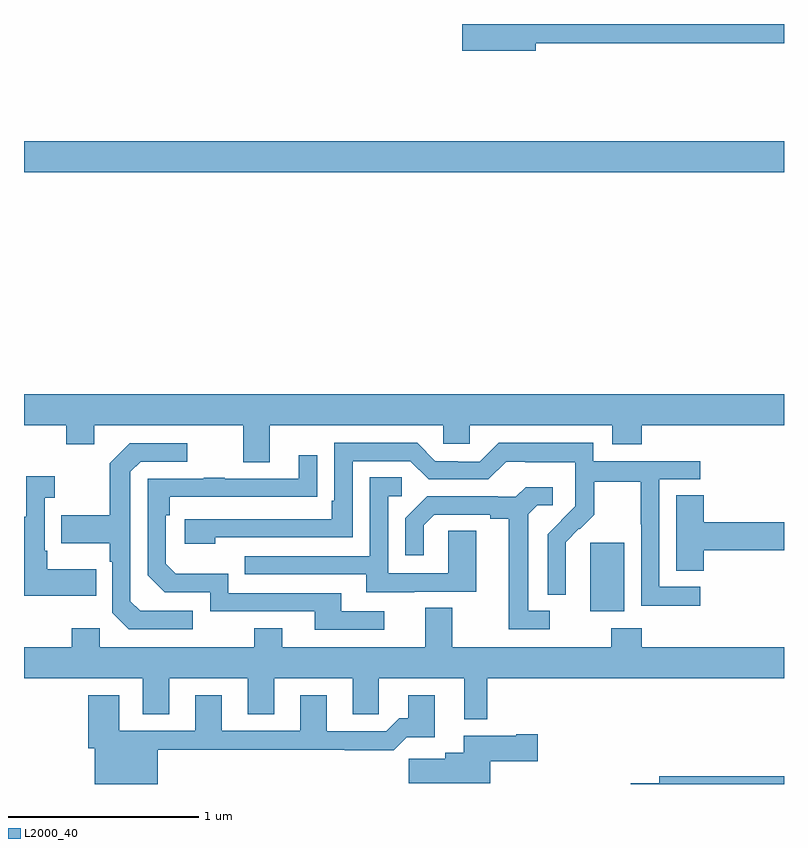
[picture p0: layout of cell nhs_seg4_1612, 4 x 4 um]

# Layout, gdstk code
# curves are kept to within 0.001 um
import gdstk
lib = gdstk.Library(unit=1e-6, precision=1e-09)
def R(c, l, rs):  # rectangles x0, y0, x1, y1
    for r in rs: c.add(gdstk.rectangle(r[:2], r[2:], *l))
def P(c, l, *ps):  # polygons
    for p in ps: c.add(gdstk.Polygon(p, *l))
L2000_40 = (2000, 40)

nhs_seg4_1612 = lib.new_cell('nhs_seg4_1612')
R(nhs_seg4_1612, L2000_40, [(195.98,827.81,196.159,828.171), (193,830.12,197,830.284)])
P(nhs_seg4_1612, L2000_40, [(195.694,830.8),(197,830.8),(197,830.9),(195.306,830.9),(195.306,830.758),(195.694,830.758)],
  [(194.293,828.788),(195.207,828.788),(195.207,828.69),(195.345,828.69),(195.345,828.788),(196.097,828.788),(196.097,828.689),(196.25,828.689),(196.25,828.788),(197,828.788),(197,828.952),(193,828.952),(193,828.788),(193.222,828.788),(193.222,828.689),(193.369,828.689),(193.369,828.788),(194.153,828.788),(194.153,828.594),(194.293,828.594)],
  [(196.558,827.937),(196.344,827.937),(196.344,828.504),(196.558,828.504),(196.558,828.6),(195.996,828.6),(195.996,828.697),(195.499,828.697),(195.399,828.597),(195.284,828.597),(195.284,828.6),(195.165,828.6),(195.069,828.696),(194.634,828.696),(194.634,828.391),(194.621,828.391),(194.621,828.294),(193.845,828.294),(193.845,828.164),(194.006,828.164),(194.006,828.198),(194.73,828.198),(194.73,828.6),(195.033,828.6),(195.129,828.504),(195.444,828.504),(195.537,828.597),(195.637,828.597),(195.637,828.593),(195.9,828.593),(195.9,828.459),(195.902,828.459),(195.902,828.362),(195.756,828.214),(195.756,827.896),(195.852,827.896),(195.851,828.173),(195.921,828.243),(195.924,828.24),(196.001,828.317),(196.001,828.492),(196.246,828.492),(196.246,828.268),(196.248,828.268),(196.248,827.839),(196.558,827.839)],
  [(193.888,827.811),(193.611,827.811),(193.56,827.862),(193.56,828.543),(193.614,828.597),(193.858,828.597),(193.858,828.693),(193.557,828.693),(193.452,828.587),(193.452,828.315),(193.195,828.315),(193.195,828.167),(193.452,828.167),(193.452,828.071),(193.464,828.071),(193.464,827.802),(193.551,827.715),(193.888,827.715)],
  [(194.896,827.808),(194.671,827.808),(194.671,827.904),(194.076,827.904),(194.076,828.007),(193.799,828.007),(193.746,828.06),(193.746,828.314),(193.766,828.314),(193.766,828.411),(194.543,828.412),(194.543,828.631),(194.447,828.631),(194.447,828.507),(194.057,828.507),(194.057,828.512),(193.945,828.512),(193.945,828.507),(193.65,828.507),(193.65,828),(193.74,827.91),(193.98,827.91),(193.98,827.808),(194.531,827.808),(194.531,827.712),(194.896,827.712)],
  [(193.379,828.031),(193.123,828.031),(193.123,828.127),(193.11,828.127),(193.11,828.407),(193.162,828.407),(193.162,828.52),(193.013,828.52),(193.013,828.307),(193.002,828.307),(193.002,827.891),(193.379,827.891)],
  [(195.055,827.913),(195.379,827.913),(195.379,828.233),(195.234,828.233),(195.234,828.009),(194.916,828.009),(194.916,828.414),(194.989,828.414),(194.989,828.515),(194.82,828.515),(194.82,828.099),(194.161,828.099),(194.161,828.003),(194.801,828.003),(194.801,827.909),(195.055,827.909)],
  [(195.766,827.811),(195.655,827.811),(195.655,828.319),(195.702,828.366),(195.784,828.366),(195.784,828.463),(195.64,828.463),(195.588,828.411),(195.494,828.411),(195.494,828.414),(195.122,828.414),(195.006,828.298),(195.006,828.105),(195.103,828.105),(195.103,828.261),(195.16,828.318),(195.455,828.318),(195.455,828.296),(195.551,828.296),(195.551,827.715),(195.766,827.715)],
  [(196.577,828.131),(197,828.131),(197,828.278),(196.577,828.278),(196.577,828.419),(196.433,828.419),(196.433,828.022),(196.577,828.022)],
  [(195.439,827.456),(197,827.456),(197,827.62),(196.25,827.62),(196.25,827.719),(196.09,827.719),(196.09,827.62),(195.253,827.62),(195.253,827.828),(195.113,827.828),(195.113,827.62),(194.359,827.62),(194.359,827.719),(194.212,827.719),(194.212,827.62),(193.398,827.62),(193.398,827.719),(193.252,827.719),(193.252,827.62),(193,827.62),(193,827.456),(193.625,827.456),(193.625,827.266),(193.765,827.266),(193.765,827.456),(194.177,827.456),(194.177,827.266),(194.317,827.266),(194.317,827.456),(194.729,827.456),(194.729,827.266),(194.868,827.266),(194.868,827.456),(195.317,827.456),(195.317,827.24),(195.439,827.24)],
  [(193.705,827.08),(194.689,827.08),(194.689,827.078),(194.945,827.078),(195.014,827.147),(195.163,827.147),(195.163,827.368),(195.023,827.368),(195.023,827.245),(194.974,827.245),(194.907,827.178),(194.593,827.178),(194.593,827.368),(194.453,827.368),(194.453,827.181),(194.041,827.181),(194.041,827.368),(193.901,827.368),(193.901,827.181),(193.501,827.181),(193.501,827.368),(193.337,827.368),(193.337,827.088),(193.373,827.088),(193.373,826.9),(193.705,826.9)],
  [(195.454,827.021),(195.703,827.021),(195.703,827.163),(195.59,827.163),(195.59,827.155),(195.314,827.155),(195.314,827.065),(195.218,827.065),(195.218,827.033),(195.024,827.033),(195.024,826.904),(195.454,826.904)],
  [(197,826.94),(196.343,826.94),(196.343,826.904),(196.194,826.904),(196.194,826.9),(197,826.9)])

lib.write_gds('nhs_seg4_1612.gds')
